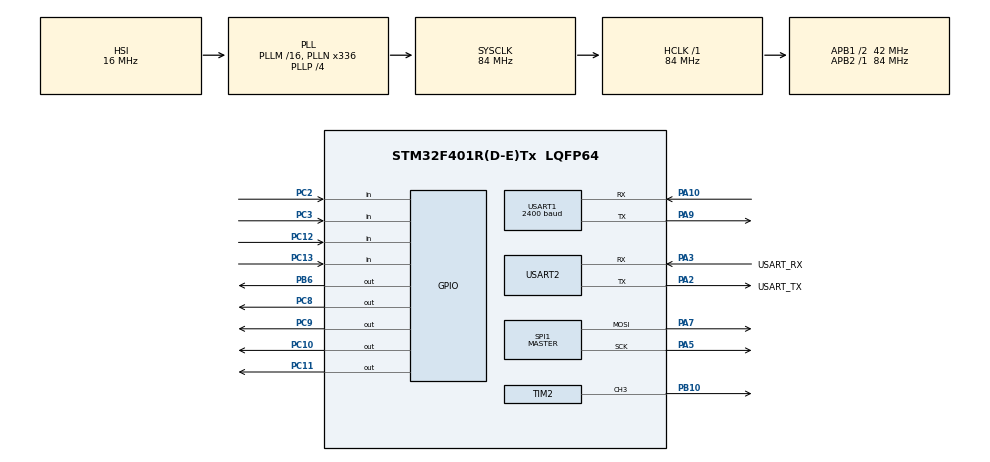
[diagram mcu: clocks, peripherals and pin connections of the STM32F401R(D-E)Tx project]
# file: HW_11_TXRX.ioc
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Dma.Request0=SPI1_TX
Dma.SPI1_TX.0.Direction=DMA_MEMORY_TO_PERIPH
Dma.SPI1_TX.0.FIFOMode=DMA_FIFOMODE_DISABLE
Dma.SPI1_TX.0.Instance=DMA2_Stream3
Dma.SPI1_TX.0.MemDataAlignment=DMA_MDATAALIGN_BYTE
Dma.SPI1_TX.0.MemInc=DMA_MINC_ENABLE
Dma.SPI1_TX.0.Mode=DMA_NORMAL
Dma.SPI1_TX.0.PeriphDataAlignment=DMA_PDATAALIGN_BYTE
Dma.SPI1_TX.0.PeriphInc=DMA_PINC_DISABLE
Dma.SPI1_TX.0.Priority=DMA_PRIORITY_LOW
Mcu.Family=STM32F4
Mcu.Name=STM32F401R(D-E)Tx
Mcu.Package=LQFP64
NVIC.DMA2_Stream3_IRQn=true\:0\:0\:false\:false\:true\:false\:true\:true
NVIC.PriorityGroup=NVIC_PRIORITYGROUP_0
NVIC.SPI1_IRQn=true\:0\:0\:false\:false\:true\:true\:true\:true
NVIC.TIM3_IRQn=true\:0\:0\:false\:false\:true\:true\:true\:true
NVIC.TIM4_IRQn=true\:0\:0\:false\:false\:true\:true\:true\:true
NVIC.USART1_IRQn=true\:0\:0\:false\:false\:true\:true\:true\:true
PA10.Mode=Asynchronous
PA10.Signal=USART1_RX
PA13.GPIO_Label=TMS
PA13.Mode=Serial_Wire
PA13.Signal=SYS_JTMS-SWDIO
PA14.GPIO_Label=TCK
PA14.Mode=Serial_Wire
PA14.Signal=SYS_JTCK-SWCLK
PA2.GPIO_Label=USART_TX
PA2.GPIO_Mode=GPIO_MODE_AF_PP
PA2.GPIO_PuPd=GPIO_NOPULL
PA2.GPIO_Speed=GPIO_SPEED_FREQ_LOW
PA2.Mode=Asynchronous
PA2.Signal=USART2_TX
PA3.GPIO_Label=USART_RX
PA3.GPIO_Mode=GPIO_MODE_AF_PP
PA3.GPIO_PuPd=GPIO_NOPULL
PA3.GPIO_Speed=GPIO_SPEED_FREQ_LOW
PA3.Mode=Asynchronous
PA3.Signal=USART2_RX
PA5.Mode=TX_Only_Simplex_Unidirect_Master
PA5.Signal=SPI1_SCK
PA7.Mode=TX_Only_Simplex_Unidirect_Master
PA7.Signal=SPI1_MOSI
PA9.Mode=Asynchronous
PA9.Signal=USART1_TX
PB10.Signal=S_TIM2_CH3
PB6.Signal=GPIO_Output
PC10.Signal=GPIO_Output
PC11.Signal=GPIO_Output
PC12.Signal=GPIO_Input
PC13-ANTI_TAMP.Signal=GPIO_Input
PC14-OSC32_IN.Mode=LSE-External-Oscillator
PC14-OSC32_IN.Signal=RCC_OSC32_IN
PC15-OSC32_OUT.Mode=LSE-External-Oscillator
PC15-OSC32_OUT.Signal=RCC_OSC32_OUT
PC2.Signal=GPIO_Input
PC3.Signal=GPIO_Input
PC8.Signal=GPIO_Output
PC9.Signal=GPIO_Output
PH0\ -\ OSC_IN.Mode=HSE-External-Clock-Source
PH0\ -\ OSC_IN.Signal=RCC_OSC_IN
PH1\ -\ OSC_OUT.Mode=HSE-External-Clock-Source
PH1\ -\ OSC_OUT.Signal=RCC_OSC_OUT
ProjectManager.HeapSize=0x200
ProjectManager.StackSize=0x400
ProjectManager.TargetToolchain=STM32CubeIDE
RCC.48MHZClocksFreq_Value=48000000
RCC.AHBFreq_Value=84000000
RCC.APB1CLKDivider=RCC_HCLK_DIV2
RCC.APB1Freq_Value=42000000
RCC.APB1TimFreq_Value=84000000
RCC.APB2Freq_Value=84000000
RCC.APB2TimFreq_Value=84000000
RCC.CortexFreq_Value=84000000
RCC.HCLKFreq_Value=84000000
RCC.HSE_VALUE=8000000
RCC.HSI_VALUE=16000000
RCC.PLLN=336
RCC.PLLP=RCC_PLLP_DIV4
RCC.PLLQ=7
RCC.SYSCLKFreq_VALUE=84000000
RCC.SYSCLKSource=RCC_SYSCLKSOURCE_PLLCLK
RCC.VCOOutputFreq_Value=336000000
SH.S_TIM2_CH3.0=TIM2_CH3,PWM Generation3 CH3
SPI1.BaudRatePrescaler=SPI_BAUDRATEPRESCALER_4
SPI1.Direction=SPI_DIRECTION_2LINES
SPI1.Mode=SPI_MODE_MASTER
SPI1.VirtualType=VM_MASTER
TIM2.Channel-PWM\ Generation3\ CH3=TIM_CHANNEL_3
TIM2.Period=2-1
TIM2.Prescaler=1105-1
TIM2.Pulse-PWM\ Generation3\ CH3=1
TIM3.Period=35-1
TIM3.Prescaler=1000-1
TIM4.Period=40-1
TIM4.Prescaler=8400-1
USART1.BaudRate=2400
USART1.Mode=MODE_RX
USART1.VirtualMode=VM_ASYNC
USART2.VirtualMode=VM_ASYNC
VP_TIM2_VS_ClockSourceINT.Mode=Internal
VP_TIM3_VS_ClockSourceINT.Mode=Internal
VP_TIM4_VS_ClockSourceINT.Mode=Internal
board=NUCLEO-F401RE

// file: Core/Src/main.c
/* USER CODE BEGIN Header */
/**
 ******************************************************************************
 * @file           : main.c
 * @brief          : Main program body
 ******************************************************************************
 * @attention
 *
 * Copyright (c) 2022 STMicroelectronics.
 * All rights reserved.
 *
 * This software is licensed under terms that can be found in the LICENSE file
 * in the root directory of this software component.
 * If no LICENSE file comes with this software, it is provided AS-IS.
 *
 ******************************************************************************
 */
/* USER CODE END Header */
#include "main.h"

SPI_HandleTypeDef hspi1;
DMA_HandleTypeDef hdma_spi1_tx;

TIM_HandleTypeDef htim2;
TIM_HandleTypeDef htim3;
TIM_HandleTypeDef htim4;

UART_HandleTypeDef huart1;
UART_HandleTypeDef huart2;

void SystemClock_Config(void);
static void MX_GPIO_Init(void);
static void MX_DMA_Init(void);
static void MX_USART2_UART_Init(void);
static void MX_SPI1_Init(void);
static void MX_TIM2_Init(void);
static void MX_TIM3_Init(void);
static void MX_USART1_UART_Init(void);
static void MX_TIM4_Init(void);

/* USER CODE BEGIN 0 */

uint8_t currChar=0;

//0 -> Start bit
//1 2 3 4 5 6 7 8 char's bits
//9 -> Stop bit
uint8_t currBit=0;

char rxChar[1];
char txChar[1];
char charToSend;

uint8_t matrix [5][2] ={
		{0,16},
		{0, 8},
		{0, 4},
		{0, 2},
		{0, 1}
};

int column_index = 0;

void HAL_TIM_PeriodElapsedCallback(TIM_HandleTypeDef *htim){
	if (htim == &htim3){
		if (currBit==0){
			//send start bit -> PWM ON
			HAL_TIM_PWM_Start(&htim2, TIM_CHANNEL_3);
		}else if(currBit==9){
			//send stop bit  -> PWM OFF
			HAL_TIM_PWM_Stop(&htim2, TIM_CHANNEL_3);
		}else{
			if(charToSend & (1<<(currBit-1))){
				HAL_TIM_PWM_Stop(&htim2, TIM_CHANNEL_3);
			}else{
				HAL_TIM_PWM_Start(&htim2, TIM_CHANNEL_3);
			}
		}

		currBit++;
		if(currBit == 10){
			HAL_TIM_PWM_Stop(&htim2, TIM_CHANNEL_3);
			currBit = 0;
			currChar++;
			if (currChar == 1){
				currChar = 0;
				HAL_TIM_Base_Stop_IT(&htim3);
			}
		}
	}else{
		HAL_SPI_Transmit_DMA(&hspi1, matrix[column_index], 2);
	}
}

//F
uint8_t matrixF[5][2]= {
		{127,16},
		{72,8},
		{72,4},
		{72,2},
		{72,1},
};

//B
uint8_t matrixB[5][2]= {
		{127,16},
		{73,8},
		{73,4},
		{127,2},
		{0,1},
};
//7
uint8_t matrix7[5][2]= {
		{64,16},
		{72,8},
		{72,4},
		{127,2},
		{8,1},
};

//3
uint8_t matrix3[5][2]= {
		{65,16},
		{73,8},
		{73,4},
		{73,2},
		{127,1},
};

//E
uint8_t matrixE[5][2]= {
		{127,16},
		{73,8},
		{73,4},
		{73,2},
		{65,1},
};

//A
uint8_t matrixA[5][2]= {
		{127,16},
		{72,8},
		{72,4},
		{72,2},
		{127,1},
};

//6

uint8_t matrix6[5][2]= {
		{127,16},
		{9,8},
		{9,4},
		{9,2},
		{15,1},
};

//2
uint8_t matrix2[5][2]= {
		{0,16},
		{67,8},
		{69,4},
		{121,2},
		{1,1},
};

//D
uint8_t matrixD[5][2]= {
		{127,16},
		{65,8},
		{65,4},
		{65,2},
		{62,1},
};

//9
uint8_t matrix9[5][2]= {
		{120,16},
		{73,8},
		{73,4},
		{73,2},
		{126,1},
};

//5
uint8_t matrix5[5][2]= {
		{121,16},
		{73,8},
		{73,4},
		{73,2},
		{78,1},
};

//1
uint8_t matrix1[5][2]= {
		{17,16},
		{33,8},
		{127,4},
		{1,2},
		{1,1},
};

//C
uint8_t matrixC[5][2]= {
		{28,16},
		{34,8},
		{65,4},
		{65,2},
		{0,1},
};

//8
uint8_t matrix8[5][2]= {
		{127,16},
		{73,8},
		{73,4},
		{73,2},
		{127,1},
};

//4
uint8_t matrix4[5][2]= {
		{124,16},
		{4,8},
		{4,4},
		{15,2},
		{4,1},
};

//0
uint8_t matrix0[5][2]= {
		{124,16},
		{65,8},
		{65,4},
		{65,2},
		{127,1},
};

void HAL_SPI_TxCpltCallback(SPI_HandleTypeDef *hspi)
{
	//propagate shift registers stored value to output
	HAL_GPIO_WritePin(GPIOB, GPIO_PIN_6, 1);
	if (++column_index > 4){
		column_index=0;
	}
	HAL_GPIO_WritePin (GPIOB, GPIO_PIN_6, 0);
}

void copyarray(uint8_t matrix[5][2], uint8_t array[5][2]){
	for(int index=0;  index<5 ; index++){
		matrix[index][0] = array[index][0];
	}
}

char rxChar[1];
char txChar[1];
uint8_t txFlag;

void HAL_UART_RxCpltCallback(UART_HandleTypeDef *huart){
	HAL_UART_Receive_IT(&huart1, rxChar, 1);
	switch (rxChar[0]) {
	case '0':
		copyarray(matrix, matrix0);
		break;
	case '1':
		copyarray(matrix, matrix1);
		break;
	case '2':
		copyarray(matrix, matrix2);
		break;
	case '3':
		copyarray(matrix, matrix3);
		break;
	case '4':
		copyarray(matrix, matrix4);
		break;
	case '5':
		copyarray(matrix, matrix5);
		break;
	case '6':
		copyarray(matrix, matrix6);
		break;
	case '7':
		copyarray(matrix, matrix7);
		break;
	case '8':
		copyarray(matrix, matrix8);
		break;
	case '9':
		copyarray(matrix, matrix9);
		break;
	case 'A':
		copyarray(matrix, matrixA);
		break;
	case 'B':
		copyarray(matrix, matrixB);
		break;
	case 'C':
		copyarray(matrix, matrixC);
		break;
	case 'D':
		copyarray(matrix, matrixD);
		break;
	case 'E':
		copyarray(matrix, matrixE);
		break;
	case 'F':
		copyarray(matrix, matrixF);
		break;
	default:
		break;
	}

	txChar[0]=rxChar[0];
	txFlag=1;
}
/* USER CODE END 0 */

int main(void)
{

	/* MCU Configuration--------------------------------------------------------*/

	/* Reset of all peripherals, Initializes the Flash interface and the Systick. */
	HAL_Init();

	/* Configure the system clock */
	SystemClock_Config();

	/* Initialize all configured peripherals */
	MX_GPIO_Init();
	MX_DMA_Init();
	MX_USART2_UART_Init();
	MX_SPI1_Init();
	MX_TIM2_Init();
	MX_TIM3_Init();
	MX_USART1_UART_Init();
	MX_TIM4_Init();
	/* USER CODE BEGIN 2 */
	uint32_t GPIO_Pins_c[4] = {GPIO_PIN_11,GPIO_PIN_10,GPIO_PIN_9,GPIO_PIN_8};
	uint32_t GPIO_Pins_r[4] = {GPIO_PIN_3,GPIO_PIN_2,GPIO_PIN_13,GPIO_PIN_12};

	uint8_t pulsante[16];
	uint32_t valoreold[16];

	char map[16] = "FB73EA62D951C840";

	HAL_TIM_Base_Start_IT(&htim4);
	HAL_UART_Receive_IT(&huart1, rxChar, 1);
	/* USER CODE END 2 */

	/* Infinite loop */
	/* USER CODE BEGIN WHILE */
	while (1)
	{
		for ( int i = 0; i<4;i++){
			HAL_GPIO_WritePin(GPIOC, GPIO_Pins_c[i], 1);
			HAL_Delay(10);
			for ( int j = 0; j<4;j++){
				pulsante[i*4+j] = HAL_GPIO_ReadPin(GPIOC, GPIO_Pins_r[j]);

				//snprintf(string, 1, "%c", map[i*4+j]);
				if(pulsante[i*4+j] == 0 && valoreold[i*4+j]==1){
					charToSend = map[i*4+j];
					HAL_TIM_Base_Start_IT(&htim3);
				}
				valoreold[i*4+j]=pulsante[i*4+j];
			}
			HAL_GPIO_WritePin(GPIOC, GPIO_Pins_c[i], 0);
		}
		/* USER CODE END WHILE */

	}
}

void SystemClock_Config(void)
{
	RCC_OscInitTypeDef RCC_OscInitStruct = {0};
	RCC_ClkInitTypeDef RCC_ClkInitStruct = {0};

	/** Configure the main internal regulator output voltage
	 */
	__HAL_RCC_PWR_CLK_ENABLE();
	__HAL_PWR_VOLTAGESCALING_CONFIG(PWR_REGULATOR_VOLTAGE_SCALE2);

	/** Initializes the RCC Oscillators according to the specified parameters
	 * in the RCC_OscInitTypeDef structure.
	 */
	RCC_OscInitStruct.OscillatorType = RCC_OSCILLATORTYPE_HSI;
	RCC_OscInitStruct.HSIState = RCC_HSI_ON;
	RCC_OscInitStruct.HSICalibrationValue = RCC_HSICALIBRATION_DEFAULT;
	RCC_OscInitStruct.PLL.PLLState = RCC_PLL_ON;
	RCC_OscInitStruct.PLL.PLLSource = RCC_PLLSOURCE_HSI;
	RCC_OscInitStruct.PLL.PLLM = 16;
	RCC_OscInitStruct.PLL.PLLN = 336;
	RCC_OscInitStruct.PLL.PLLP = RCC_PLLP_DIV4;
	RCC_OscInitStruct.PLL.PLLQ = 7;
	if (HAL_RCC_OscConfig(&RCC_OscInitStruct) != HAL_OK)
	{
		Error_Handler();
	}

	/** Initializes the CPU, AHB and APB buses clocks
	 */
	RCC_ClkInitStruct.ClockType = RCC_CLOCKTYPE_HCLK|RCC_CLOCKTYPE_SYSCLK
			|RCC_CLOCKTYPE_PCLK1|RCC_CLOCKTYPE_PCLK2;
	RCC_ClkInitStruct.SYSCLKSource = RCC_SYSCLKSOURCE_PLLCLK;
	RCC_ClkInitStruct.AHBCLKDivider = RCC_SYSCLK_DIV1;
	RCC_ClkInitStruct.APB1CLKDivider = RCC_HCLK_DIV2;
	RCC_ClkInitStruct.APB2CLKDivider = RCC_HCLK_DIV1;

	if (HAL_RCC_ClockConfig(&RCC_ClkInitStruct, FLASH_LATENCY_2) != HAL_OK)
	{
		Error_Handler();
	}
}

static void MX_SPI1_Init(void)
{

	/* SPI1 parameter configuration*/
	hspi1.Instance = SPI1;
	hspi1.Init.Mode = SPI_MODE_MASTER;
	hspi1.Init.Direction = SPI_DIRECTION_2LINES;
	hspi1.Init.DataSize = SPI_DATASIZE_8BIT;
	hspi1.Init.CLKPolarity = SPI_POLARITY_LOW;
	hspi1.Init.CLKPhase = SPI_PHASE_1EDGE;
	hspi1.Init.NSS = SPI_NSS_SOFT;
	hspi1.Init.BaudRatePrescaler = SPI_BAUDRATEPRESCALER_4;
	hspi1.Init.FirstBit = SPI_FIRSTBIT_MSB;
	hspi1.Init.TIMode = SPI_TIMODE_DISABLE;
	hspi1.Init.CRCCalculation = SPI_CRCCALCULATION_DISABLE;
	hspi1.Init.CRCPolynomial = 10;
	if (HAL_SPI_Init(&hspi1) != HAL_OK)
	{
		Error_Handler();
	}

}

static void MX_TIM2_Init(void)
{

	TIM_ClockConfigTypeDef sClockSourceConfig = {0};
	TIM_MasterConfigTypeDef sMasterConfig = {0};
	TIM_OC_InitTypeDef sConfigOC = {0};

	htim2.Instance = TIM2;
	htim2.Init.Prescaler = 1105-1;
	htim2.Init.CounterMode = TIM_COUNTERMODE_UP;
	htim2.Init.Period = 2-1;
	htim2.Init.ClockDivision = TIM_CLOCKDIVISION_DIV1;
	htim2.Init.AutoReloadPreload = TIM_AUTORELOAD_PRELOAD_DISABLE;
	if (HAL_TIM_Base_Init(&htim2) != HAL_OK)
	{
		Error_Handler();
	}
	sClockSourceConfig.ClockSource = TIM_CLOCKSOURCE_INTERNAL;
	if (HAL_TIM_ConfigClockSource(&htim2, &sClockSourceConfig) != HAL_OK)
	{
		Error_Handler();
	}
	if (HAL_TIM_PWM_Init(&htim2) != HAL_OK)
	{
		Error_Handler();
	}
	sMasterConfig.MasterOutputTrigger = TIM_TRGO_RESET;
	sMasterConfig.MasterSlaveMode = TIM_MASTERSLAVEMODE_DISABLE;
	if (HAL_TIMEx_MasterConfigSynchronization(&htim2, &sMasterConfig) != HAL_OK)
	{
		Error_Handler();
	}
	sConfigOC.OCMode = TIM_OCMODE_PWM1;
	sConfigOC.Pulse = 1;
	sConfigOC.OCPolarity = TIM_OCPOLARITY_HIGH;
	sConfigOC.OCFastMode = TIM_OCFAST_DISABLE;
	if (HAL_TIM_PWM_ConfigChannel(&htim2, &sConfigOC, TIM_CHANNEL_3) != HAL_OK)
	{
		Error_Handler();
	}
	HAL_TIM_MspPostInit(&htim2);

}

static void MX_TIM3_Init(void)
{

	TIM_ClockConfigTypeDef sClockSourceConfig = {0};
	TIM_MasterConfigTypeDef sMasterConfig = {0};

	htim3.Instance = TIM3;
	htim3.Init.Prescaler = 1000-1;
	htim3.Init.CounterMode = TIM_COUNTERMODE_UP;
	htim3.Init.Period = 35-1;
	htim3.Init.ClockDivision = TIM_CLOCKDIVISION_DIV1;
	htim3.Init.AutoReloadPreload = TIM_AUTORELOAD_PRELOAD_DISABLE;
	if (HAL_TIM_Base_Init(&htim3) != HAL_OK)
	{
		Error_Handler();
	}
	sClockSourceConfig.ClockSource = TIM_CLOCKSOURCE_INTERNAL;
	if (HAL_TIM_ConfigClockSource(&htim3, &sClockSourceConfig) != HAL_OK)
	{
		Error_Handler();
	}
	sMasterConfig.MasterOutputTrigger = TIM_TRGO_RESET;
	sMasterConfig.MasterSlaveMode = TIM_MASTERSLAVEMODE_DISABLE;
	if (HAL_TIMEx_MasterConfigSynchronization(&htim3, &sMasterConfig) != HAL_OK)
	{
		Error_Handler();
	}

}

static void MX_TIM4_Init(void)
{

	TIM_ClockConfigTypeDef sClockSourceConfig = {0};
	TIM_MasterConfigTypeDef sMasterConfig = {0};

	htim4.Instance = TIM4;
	htim4.Init.Prescaler = 8400-1;
	htim4.Init.CounterMode = TIM_COUNTERMODE_UP;
	htim4.Init.Period = 40-1;
	htim4.Init.ClockDivision = TIM_CLOCKDIVISION_DIV1;
	htim4.Init.AutoReloadPreload = TIM_AUTORELOAD_PRELOAD_DISABLE;
	if (HAL_TIM_Base_Init(&htim4) != HAL_OK)
	{
		Error_Handler();
	}
	sClockSourceConfig.ClockSource = TIM_CLOCKSOURCE_INTERNAL;
	if (HAL_TIM_ConfigClockSource(&htim4, &sClockSourceConfig) != HAL_OK)
	{
		Error_Handler();
	}
	sMasterConfig.MasterOutputTrigger = TIM_TRGO_RESET;
	sMasterConfig.MasterSlaveMode = TIM_MASTERSLAVEMODE_DISABLE;
	if (HAL_TIMEx_MasterConfigSynchronization(&htim4, &sMasterConfig) != HAL_OK)
	{
		Error_Handler();
	}

}

static void MX_USART1_UART_Init(void)
{

	huart1.Instance = USART1;
	huart1.Init.BaudRate = 2400;
	huart1.Init.WordLength = UART_WORDLENGTH_8B;
	huart1.Init.StopBits = UART_STOPBITS_1;
	huart1.Init.Parity = UART_PARITY_NONE;
	huart1.Init.Mode = UART_MODE_RX;
	huart1.Init.HwFlowCtl = UART_HWCONTROL_NONE;
	huart1.Init.OverSampling = UART_OVERSAMPLING_16;
	if (HAL_UART_Init(&huart1) != HAL_OK)
	{
		Error_Handler();
	}

}

static void MX_USART2_UART_Init(void)
{

	huart2.Instance = USART2;
	huart2.Init.BaudRate = 115200;
	huart2.Init.WordLength = UART_WORDLENGTH_8B;
	huart2.Init.StopBits = UART_STOPBITS_1;
	huart2.Init.Parity = UART_PARITY_NONE;
	huart2.Init.Mode = UART_MODE_TX_RX;
	huart2.Init.HwFlowCtl = UART_HWCONTROL_NONE;
	huart2.Init.OverSampling = UART_OVERSAMPLING_16;
	if (HAL_UART_Init(&huart2) != HAL_OK)
	{
		Error_Handler();
	}

}

static void MX_DMA_Init(void)
{

	/* DMA controller clock enable */
	__HAL_RCC_DMA2_CLK_ENABLE();

	/* DMA interrupt init */
	/* DMA2_Stream3_IRQn interrupt configuration */
	HAL_NVIC_SetPriority(DMA2_Stream3_IRQn, 0, 0);
	HAL_NVIC_EnableIRQ(DMA2_Stream3_IRQn);

}

static void MX_GPIO_Init(void)
{
	GPIO_InitTypeDef GPIO_InitStruct = {0};

	/* GPIO Ports Clock Enable */
	__HAL_RCC_GPIOC_CLK_ENABLE();
	__HAL_RCC_GPIOH_CLK_ENABLE();
	__HAL_RCC_GPIOA_CLK_ENABLE();
	__HAL_RCC_GPIOB_CLK_ENABLE();

	/*Configure GPIO pin Output Level */
	HAL_GPIO_WritePin(GPIOC, GPIO_PIN_8|GPIO_PIN_9|GPIO_PIN_10|GPIO_PIN_11, GPIO_PIN_RESET);

	/*Configure GPIO pin Output Level */
	HAL_GPIO_WritePin(GPIOB, GPIO_PIN_6, GPIO_PIN_RESET);

	/*Configure GPIO pins : PC13 PC2 PC3 PC12 */
	GPIO_InitStruct.Pin = GPIO_PIN_13|GPIO_PIN_2|GPIO_PIN_3|GPIO_PIN_12;
	GPIO_InitStruct.Mode = GPIO_MODE_INPUT;
	GPIO_InitStruct.Pull = GPIO_NOPULL;
	HAL_GPIO_Init(GPIOC, &GPIO_InitStruct);

	/*Configure GPIO pins : PC8 PC9 PC10 PC11 */
	GPIO_InitStruct.Pin = GPIO_PIN_8|GPIO_PIN_9|GPIO_PIN_10|GPIO_PIN_11;
	GPIO_InitStruct.Mode = GPIO_MODE_OUTPUT_PP;
	GPIO_InitStruct.Pull = GPIO_NOPULL;
	GPIO_InitStruct.Speed = GPIO_SPEED_FREQ_LOW;
	HAL_GPIO_Init(GPIOC, &GPIO_InitStruct);

	/*Configure GPIO pin : PB6 */
	GPIO_InitStruct.Pin = GPIO_PIN_6;
	GPIO_InitStruct.Mode = GPIO_MODE_OUTPUT_PP;
	GPIO_InitStruct.Pull = GPIO_NOPULL;
	GPIO_InitStruct.Speed = GPIO_SPEED_FREQ_LOW;
	HAL_GPIO_Init(GPIOB, &GPIO_InitStruct);

}

void Error_Handler(void)
{
	__disable_irq();
	while (1)
	{
	}
}
